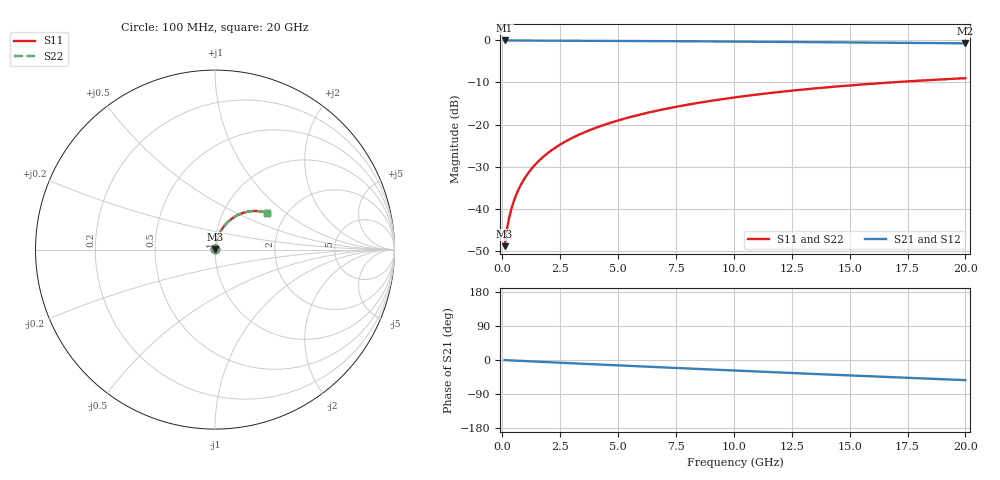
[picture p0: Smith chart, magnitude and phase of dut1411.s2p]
! Touchstone file exported from HFSS 2026.1.0
!  File:  C:/ffzhzh/LocalFiles/Ansys_Project_Files/temp_train_TMRDL_1411_1783166518_22436.aedt
!  Generated:  08:03:23 PM Jul  4, 2026
!  Design:  TMRDL
!  Project:  temp_train_TMRDL_1411_1783166518_22436
! Variables:
!  h_bsmrdl = 2um
!  h_ox = 20um
!  h_rdl = 5um
!  h_sub = 80um
!  h_tmrdl = 5.26um
!  h_tsv = 80um
!  h_via = 3um
!  l_bsmrdl = 300um
!  l_sub = 1268.29um
!  l_tmrdl = 868.29um
!  m_sub = 200um
!  pitch = 47.79um
!  r_tsv = 6um
!  s_tmrdl = 10um
!  w_bsmrdl = 18um
!  w_sub = 500um
!  w_tmrdl = 26.68um
!  x_tsv_center1 = 881.63um
!  x_tsv_center2 = 1199.63um
!  x_tsv_center3 = 2094.6um
!  x_tsv_center4 = 2412.6um
!  x_tsv_center5 = 3307.57um
!  x_tsv_center6 = 3625.57um
# GHz S MA R 50.000000
! Terminal data exported
! Port[1] = TM_RDL1_1_T1
! Port[2] = TM_RDL1_1_T2
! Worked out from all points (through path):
!   200 points, 100 MHz to 20 GHz, reference 50 ohm
!   highest |S21| = -0.02 dB at 100 MHz (marker M1); lowest = -0.7 dB at 20 GHz (marker M2)
!   group delay of S21, straight-line fit = 7.37 ps
!   lowest |S11| = -48.9 dB at 100 MHz (marker M3), VSWR 1.01, Z = 50.2 + j0.266 ohm
!   |S11| at or under -10 dB: start of sweep to 16.75 GHz
!   |S22| runs from -48.9 to -9.0 dB; largest |S21 - S12| = 1.5e-14
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0.1  0.003606 47.2  0.9976 -0.3  0.9976 -0.3  0.003606 47.2
! Gamma 0 0 0 0
! Port Impedance 50 0 50 0
0.2  0.005758 61.7  0.9973 -0.6  0.9973 -0.6  0.005758 61.7
0.3  0.007955 68.2  0.9971 -0.9  0.9971 -0.9  0.007955 68.2
0.4  0.01017 71.9  0.997 -1.2  0.997 -1.2  0.01017 71.9
0.5  0.01241 74.4  0.9969 -1.5  0.9969 -1.5  0.01241 74.4
0.6  0.01468 76.0  0.9968 -1.8  0.9968 -1.8  0.01468 76.0
0.8  0.01924 78.0  0.9966 -2.3  0.9966 -2.3  0.01924 78.0
1.1  0.02614 79.3  0.9963 -3.2  0.9963 -3.2  0.02614 79.3
1.5  0.03533 79.6  0.9957 -4.3  0.9957 -4.3  0.03533 79.6
1.8  0.04218 79.4  0.9952 -5.2  0.9952 -5.2  0.04218 79.4
2.1  0.04899 79.0  0.9946 -6.1  0.9946 -6.1  0.04899 79.0
2.7  0.06245 77.8  0.9932 -7.8  0.9932 -7.8  0.06245 77.8
3.5  0.08005 76.0  0.9912 -10.0  0.9912 -10.0  0.08005 76.0
4.2  0.09512 74.2  0.9892 -12.0  0.9892 -12.0  0.09512 74.2
5  0.112 72.2  0.9867 -14.2  0.9867 -14.2  0.112 72.2
5.9  0.1306 70.0  0.9838 -16.7  0.9838 -16.7  0.1306 70.0
6.8  0.1488 67.7  0.9806 -19.1  0.9806 -19.1  0.1488 67.7
8.3  0.1781 63.9  0.9749 -23.2  0.9749 -23.2  0.178 63.9
10.1  0.2115 59.3  0.9675 -28.0  0.9675 -28.0  0.2115 59.3
13.4  0.2674 51.0  0.9526 -36.6  0.9526 -36.6  0.2673 51.1
16.7  0.3155 42.9  0.9372 -45.0  0.9372 -45.0  0.3155 43.0
20  0.3556 35.0  0.9225 -53.1  0.9225 -53.1  0.3556 35.1
